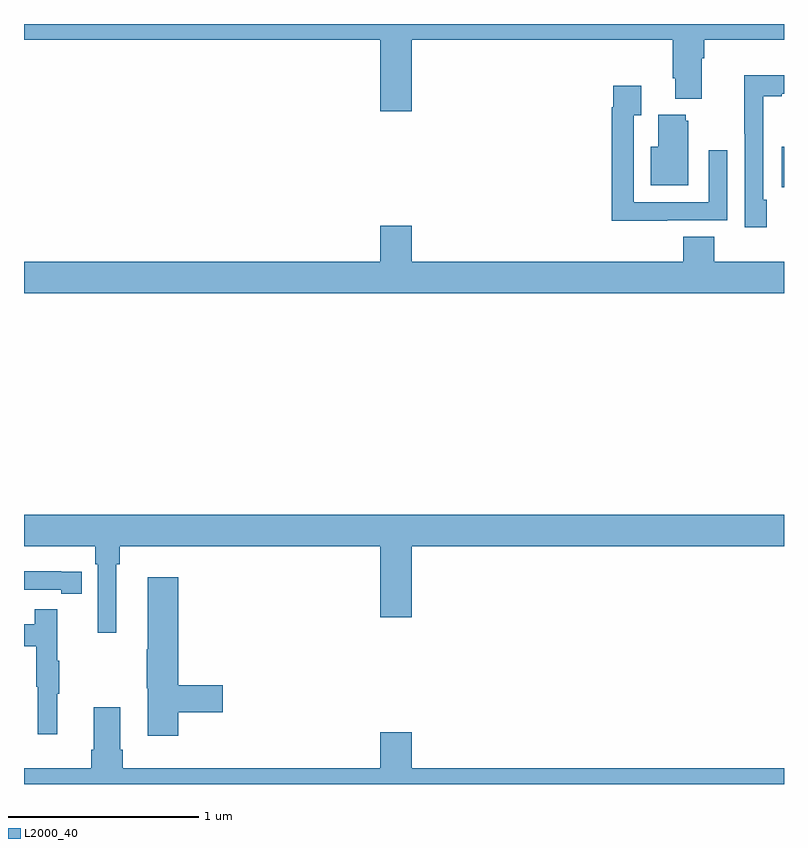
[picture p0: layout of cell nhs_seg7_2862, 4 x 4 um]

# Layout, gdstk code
import gdstk
lib = gdstk.Library(unit=1e-6, precision=1e-09)
def R(c, l, rs):  # rectangles x0, y0, x1, y1
    for r in rs: c.add(gdstk.rectangle(r[:2], r[2:], *l))
def P(c, l, *ps):  # polygons
    for p in ps: c.add(gdstk.Polygon(p, *l))
L2000_40 = (2000, 40)

nhs_seg7_2862 = lib.new_cell('nhs_seg7_2862')
R(nhs_seg7_2862, L2000_40, [(298.988,1033.142,299,1033.354)])
P(nhs_seg7_2862, L2000_40, [(297.04,1033.916),(298.415,1033.916),(298.415,1033.714),(298.427,1033.714),(298.427,1033.607),(298.567,1033.607),(298.567,1033.82),(298.58,1033.82),(298.58,1033.916),(299,1033.916),(299,1034),(295,1034),(295,1033.916),(296.876,1033.916),(296.876,1033.542),(297.04,1033.542)],
  [(298.909,1033.074),(298.89,1033.074),(298.89,1033.62),(298.987,1033.62),(298.987,1033.632),(299,1033.632),(299,1033.73),(298.792,1033.73),(298.792,1033.423),(298.794,1033.423),(298.794,1032.93),(298.909,1032.93)],
  [(298.385,1032.966),(298.701,1032.966),(298.701,1033.336),(298.605,1033.336),(298.605,1033.062),(298.209,1033.062),(298.209,1033.519),(298.249,1033.519),(298.249,1033.675),(298.101,1033.675),(298.101,1033.562),(298.093,1033.562),(298.093,1032.965),(298.385,1032.965)],
  [(298.495,1033.491),(298.484,1033.491),(298.484,1033.522),(298.337,1033.522),(298.337,1033.354),(298.298,1033.354),(298.298,1033.151),(298.495,1033.151)],
  [(299,1032.748),(298.634,1032.748),(298.634,1032.881),(298.469,1032.881),(298.469,1032.748),(297.04,1032.748),(297.04,1032.937),(296.876,1032.937),(296.876,1032.748),(295,1032.748),(295,1032.584),(299,1032.584)],
  [(295.486,1031.156),(295.505,1031.156),(295.505,1031.252),(296.876,1031.252),(296.876,1030.878),(297.04,1030.878),(297.04,1031.252),(299,1031.252),(299,1031.416),(295,1031.416),(295,1031.252),(295.376,1031.252),(295.376,1031.156),(295.389,1031.156),(295.389,1030.797),(295.486,1030.797)],
  [(295.304,1031.118),(295.196,1031.118),(295.196,1031.119),(295,1031.119),(295,1031.022),(295.196,1031.022),(295.196,1031.002),(295.304,1031.002)],
  [(295.811,1030.378),(296.047,1030.378),(296.047,1030.52),(295.811,1030.52),(295.811,1031.089),(295.652,1031.089),(295.652,1030.709),(295.645,1030.709),(295.645,1030.503),(295.652,1030.503),(295.652,1030.254),(295.811,1030.254)],
  [(295.175,1030.475),(295.186,1030.475),(295.186,1030.649),(295.175,1030.649),(295.175,1030.921),(295.057,1030.921),(295.057,1030.842),(295,1030.842),(295,1030.726),(295.065,1030.726),(295.065,1030.512),(295.072,1030.512),(295.072,1030.263),(295.175,1030.263)],
  [(297.04,1030.273),(296.876,1030.273),(296.876,1030.084),(295.52,1030.084),(295.52,1030.18),(295.507,1030.18),(295.507,1030.405),(295.367,1030.405),(295.367,1030.18),(295.355,1030.18),(295.355,1030.084),(295,1030.084),(295,1030),(299,1030),(299,1030.084),(297.04,1030.084)])

lib.write_gds('nhs_seg7_2862.gds')
